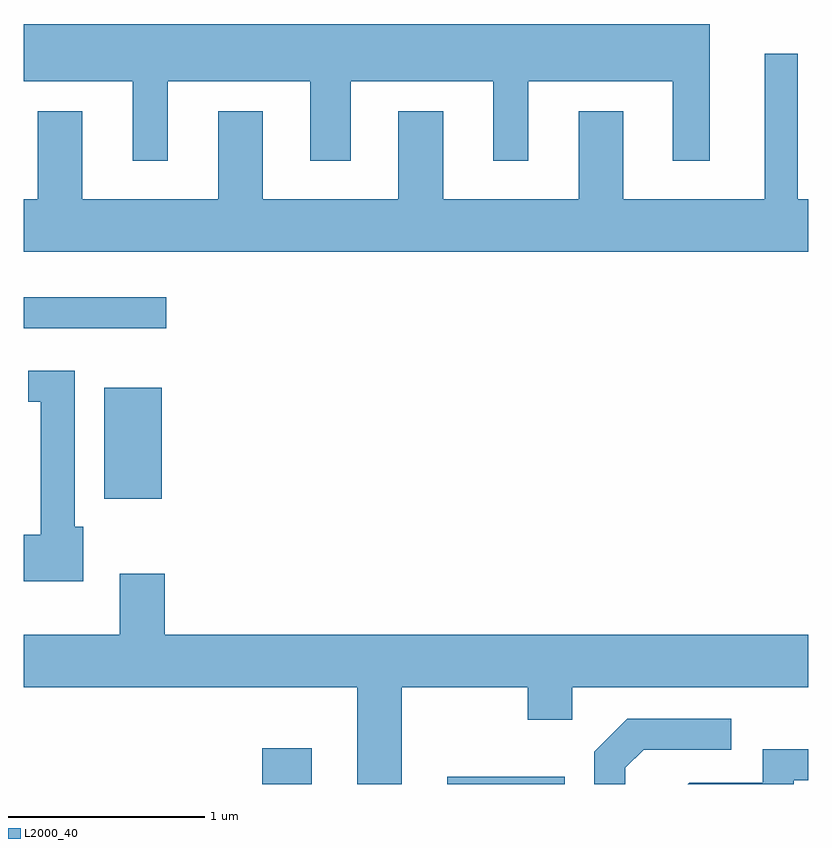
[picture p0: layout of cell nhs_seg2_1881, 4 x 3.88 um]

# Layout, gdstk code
import gdstk
lib = gdstk.Library(unit=1e-6, precision=1e-09)
def R(c, l, rs):  # rectangles x0, y0, x1, y1
    for r in rs: c.add(gdstk.rectangle(r[:2], r[2:], *l))
def P(c, l, *ps):  # polygons
    for p in ps: c.add(gdstk.Polygon(p, *l))
L2000_40 = (2000, 40)

nhs_seg2_1881 = lib.new_cell('nhs_seg2_1881')
R(nhs_seg2_1881, L2000_40, [(240.826,1067.802,241.079,1067.984), (241.771,1067.802,242.369,1067.839), (240.021,1069.256,240.314,1069.824), (239.611,1070.126,240.338,1070.284)])
P(nhs_seg2_1881, L2000_40, [(240.344,1071.386),(241.071,1071.386),(241.071,1070.981),(241.279,1070.981),(241.279,1071.386),(242.006,1071.386),(242.006,1070.981),(242.184,1070.981),(242.184,1071.386),(242.921,1071.386),(242.921,1070.981),(243.109,1070.981),(243.109,1071.679),(239.611,1071.679),(239.611,1071.386),(240.166,1071.386),(240.166,1070.981),(240.344,1070.981)],
  [(243.611,1070.784),(243.559,1070.784),(243.559,1071.528),(243.391,1071.528),(243.391,1070.784),(242.669,1070.784),(242.669,1071.234),(242.441,1071.234),(242.441,1070.784),(241.749,1070.784),(241.749,1071.234),(241.521,1071.234),(241.521,1070.784),(240.829,1070.784),(240.829,1071.234),(240.601,1071.234),(240.601,1070.784),(239.909,1070.784),(239.909,1071.234),(239.681,1071.234),(239.681,1070.784),(239.611,1070.784),(239.611,1070.516),(243.611,1070.516)],
  [(239.914,1069.114),(239.869,1069.114),(239.869,1069.909),(239.633,1069.909),(239.633,1069.751),(239.696,1069.751),(239.696,1069.074),(239.611,1069.074),(239.611,1068.836),(239.914,1068.836)],
  [(241.539,1068.296),(242.181,1068.296),(242.181,1068.131),(242.409,1068.131),(242.409,1068.296),(243.611,1068.296),(243.611,1068.564),(240.329,1068.564),(240.329,1068.874),(240.101,1068.874),(240.101,1068.564),(239.611,1068.564),(239.611,1068.296),(241.311,1068.296),(241.311,1067.802),(241.539,1067.802)],
  [(242.679,1067.884),(242.772,1067.976),(243.218,1067.976),(243.218,1068.134),(242.689,1068.134),(242.521,1067.967),(242.521,1067.802),(242.679,1067.802)],
  [(243.539,1067.821),(243.611,1067.821),(243.611,1067.979),(243.381,1067.979),(243.381,1067.809),(243.004,1067.809),(242.997,1067.802),(243.539,1067.802)])

lib.write_gds('nhs_seg2_1881.gds')
